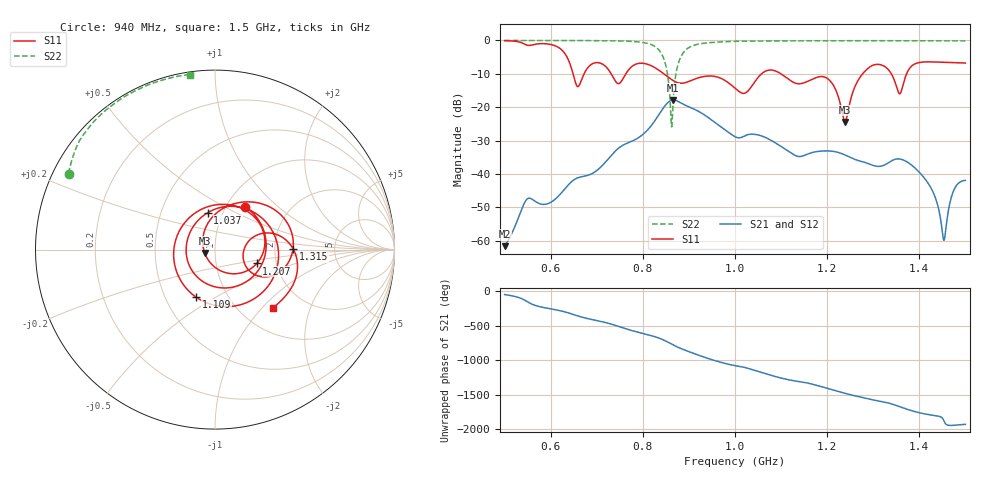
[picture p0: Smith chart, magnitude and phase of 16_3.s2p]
! TOUCHSTONE file generated by CST MICROWAVE STUDIO
! Date and time: Fri Dec 11 14:10:56 2020
! Project name: Scenario_1_Planar_Body_Tissue_Out_of_Line_v2.cst
! Parameters = {dy1=-86.5; L_HA=400; Ltissue=700; MT=2.54; Rad_Dielectric=30; Rad_Lower=7.3; Rad_Upper=30; Wtissue=700; a_HA=580; a_WG=246; b_HA=500; b_WG=121; c_HA=0; c_WG=187; d_feed=85; dx1=520; h_feed=15; h_lower=18; h_upper=40; hfat=3; hgap=25; hmuscle=50; hskin=1.5}
! Header version: 2018
! Port assignment regex: !\s*Touchstone port\s*([0-9]+)\s*=\s*(CST MWS port|CST DS port)\s*([0-9]+|Zmin|Zmax)\s*\(\"(.*)\"\)(\s*mode\s*([0-9]+))?.*
! Touchstone port assignment:
! Touchstone port 1 = CST MWS port 1 ("")
! Touchstone port 2 = CST MWS port 2 ("")
# GHz S DB R 50
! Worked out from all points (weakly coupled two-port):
!   1003 points, 500 MHz to 1.5 GHz, reference 50 ohm
!   highest |S21| = -17.87 dB at 866 MHz (marker M1); lowest = -61.6 dB at 500 MHz (marker M2)
!   lowest |S11| = -24.4 dB at 1.239 GHz (marker M3), VSWR 1.13, Z = 44.5 - j1.66 ohm
!   |S11| at or under -10 dB: 845.6 MHz to 1.058 GHz (212.1 MHz wide, 22.3 % of centre); 1.1 GHz to 1.277 GHz (177.3 MHz wide, 14.9 % of centre); 1.339 GHz to 1.372 GHz (33.05 MHz wide, 2.44 % of centre)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
!   |S22| runs from -25.9 to 0.0 dB; largest |S21 - S12| = 2.1e-05
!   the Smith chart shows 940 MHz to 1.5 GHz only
!   S11 on the Smith chart (normalised r, x): 940 MHz: 1.22, +0.64; 1.037 GHz: 0.85, +0.37; 1.109 GHz: 0.71, -0.41; 1.207 GHz: 1.58, -0.26; 1.315 GHz: 2.54, +0.02; 1.5 GHz: 1.41, -1.15
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0.5  -0.08 -121.9  -61.64 -49.6  -61.64 -49.6  -0.01 151.2
0.549  -1.43 -145.7  -47.51 -152.1  -47.51 -152.1  -0.01 147.9
0.63  -3.78 146.8  -44.60 60.3  -44.60 60.3  -0.03 141.8
0.667  -11.81 177.8  -40.86 -16.0  -40.86 -16.0  -0.04 138.5
0.741  -12.29 10.3  -33.05 -138.3  -33.05 -138.3  -0.13 129.4
0.787  -7.01 164.4  -29.44 128.5  -29.44 128.5  -0.40 118.8
0.834  -8.84 44.9  -22.43 41.0  -22.43 41.0  -2.72 89.1
0.866  -12.04 -51.6  -17.87 -60.4  -17.87 -60.4  -17.62 -122.6
0.885  -12.82 -120.3  -18.91 -119.4  -18.91 -119.4  -4.25 -171.9
0.94  -10.68 55.0  -22.91 106.7  -22.91 106.7  -0.73 152.5
1  -14.30 -107.6  -28.84 -0.6  -28.84 -0.6  -0.27 140.9
1.037  -13.56 101.0  -28.09 -58.4  -28.09 -58.4  -0.20 136.2
1.071  -8.96 -6.5  -29.40 -128.1  -29.40 -128.1  -0.15 132.7
1.109  -10.91 -111.9  -32.59 165.3  -32.59 165.3  -0.12 129.2
1.167  -11.66 73.5  -33.60 91.5  -33.60 91.5  -0.10 124.5
1.207  -12.21 -18.4  -33.14 18.4  -33.14 18.4  -0.09 121.4
1.239  -24.39 -162.1  -34.33 -42.6  -34.33 -42.6  -0.09 118.9
1.315  -7.24 0.4  -37.71 -156.9  -37.71 -156.9  -0.08 113.2
1.334  -8.95 -23.5  -36.56 176.0  -36.56 176.0  -0.08 111.7
1.412  -6.45 -17.6  -41.42 19.2  -41.42 19.2  -0.10 105.7
1.453  -6.56 -33.6  -59.86 -75.1  -59.80 -74.7  -0.11 102.3
1.5  -6.77 -45.0  -41.93 -131.8  -41.93 -131.8  -0.13 98.2
